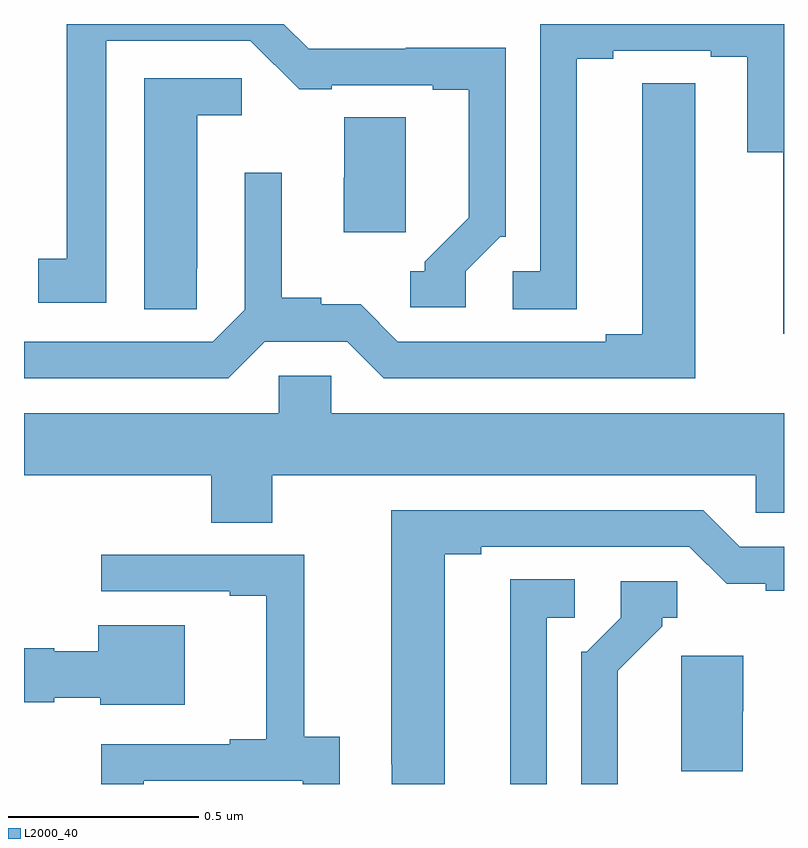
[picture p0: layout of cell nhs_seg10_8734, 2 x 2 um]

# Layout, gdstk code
import gdstk
lib = gdstk.Library(unit=1e-6, precision=1e-09)
def P(c, l, *ps):  # polygons
    for p in ps: c.add(gdstk.Polygon(p, *l))
L2000_40 = (2000, 40)

nhs_seg10_8734 = lib.new_cell('nhs_seg10_8734')
P(nhs_seg10_8734, L2000_40, [(222,1305.5),(221.358,1305.5),(221.358,1304.85),(221.286,1304.85),(221.286,1304.749),(221.455,1304.749),(221.455,1305.409),(221.551,1305.409),(221.551,1305.429),(221.807,1305.429),(221.807,1305.414),(221.903,1305.414),(221.903,1305.163),(221.998,1305.163),(221.998,1304.685),(222,1304.685)],
  [(221.163,1304.85),(221.253,1304.94),(221.268,1304.94),(221.268,1305.437),(221.005,1305.437),(221.005,1305.435),(220.749,1305.435),(220.684,1305.5),(220.112,1305.5),(220.112,1304.882),(220.038,1304.882),(220.038,1304.766),(220.216,1304.766),(220.216,1305.456),(220.596,1305.456),(220.724,1305.328),(220.81,1305.328),(220.81,1305.339),(221.075,1305.339),(221.075,1305.327),(221.171,1305.327),(221.171,1304.99),(221.055,1304.874),(221.055,1304.85),(221.016,1304.85),(221.016,1304.754),(221.163,1304.754)],
  [(220.455,1304.857),(220.456,1304.857),(220.456,1305.26),(220.573,1305.26),(220.573,1305.357),(220.316,1305.357),(220.316,1304.749),(220.455,1304.749)],
  [(220.633,1304.664),(220.851,1304.664),(220.947,1304.568),(221.767,1304.568),(221.767,1305.236),(221.766,1305.236),(221.766,1305.344),(221.627,1305.344),(221.627,1304.684),(221.531,1304.684),(221.531,1304.664),(220.983,1304.664),(220.886,1304.762),(220.782,1304.762),(220.782,1304.78),(220.678,1304.78),(220.678,1305.109),(220.581,1305.109),(220.581,1304.748),(220.497,1304.664),(220,1304.664),(220,1304.568),(220.537,1304.568)],
  [(221.005,1305.254),(220.843,1305.254),(220.843,1305.096),(220.841,1305.096),(220.841,1304.952),(221.005,1304.952)],
  [(220.653,1304.312),(221.925,1304.312),(221.925,1304.214),(222,1304.214),(222,1304.476),(220.809,1304.476),(220.809,1304.574),(220.671,1304.574),(220.671,1304.476),(220,1304.476),(220,1304.312),(220.493,1304.312),(220.493,1304.188),(220.653,1304.188)],
  [(221.107,1304.104),(221.203,1304.104),(221.203,1304.124),(221.751,1304.124),(221.849,1304.027),(221.952,1304.027),(221.952,1304.008),(222,1304.008),(222,1304.124),(221.883,1304.124),(221.787,1304.22),(220.967,1304.22),(220.967,1303.552),(220.968,1303.552),(220.968,1303.5),(221.107,1303.5)],
  [(220.315,1303.509),(220.734,1303.509),(220.734,1303.5),(220.831,1303.5),(220.831,1303.625),(220.737,1303.625),(220.737,1304.103),(220.203,1304.103),(220.203,1304.007),(220.541,1304.007),(220.541,1303.995),(220.637,1303.995),(220.637,1303.618),(220.541,1303.618),(220.541,1303.605),(220.203,1303.605),(220.203,1303.5),(220.315,1303.5)],
  [(221.376,1303.938),(221.449,1303.938),(221.449,1304.039),(221.279,1304.039),(221.279,1303.5),(221.376,1303.5)],
  [(221.563,1303.798),(221.68,1303.915),(221.68,1303.938),(221.719,1303.938),(221.719,1304.034),(221.571,1304.034),(221.571,1303.938),(221.481,1303.848),(221.466,1303.848),(221.466,1303.5),(221.563,1303.5)],
  [(220.423,1303.918),(220.196,1303.918),(220.196,1303.849),(220.08,1303.849),(220.08,1303.857),(220,1303.857),(220,1303.715),(220.08,1303.715),(220.08,1303.727),(220.2,1303.727),(220.2,1303.709),(220.423,1303.709)],
  [(221.892,1303.692),(221.893,1303.692),(221.893,1303.837),(221.729,1303.837),(221.729,1303.534),(221.892,1303.534)])

lib.write_gds('nhs_seg10_8734.gds')
